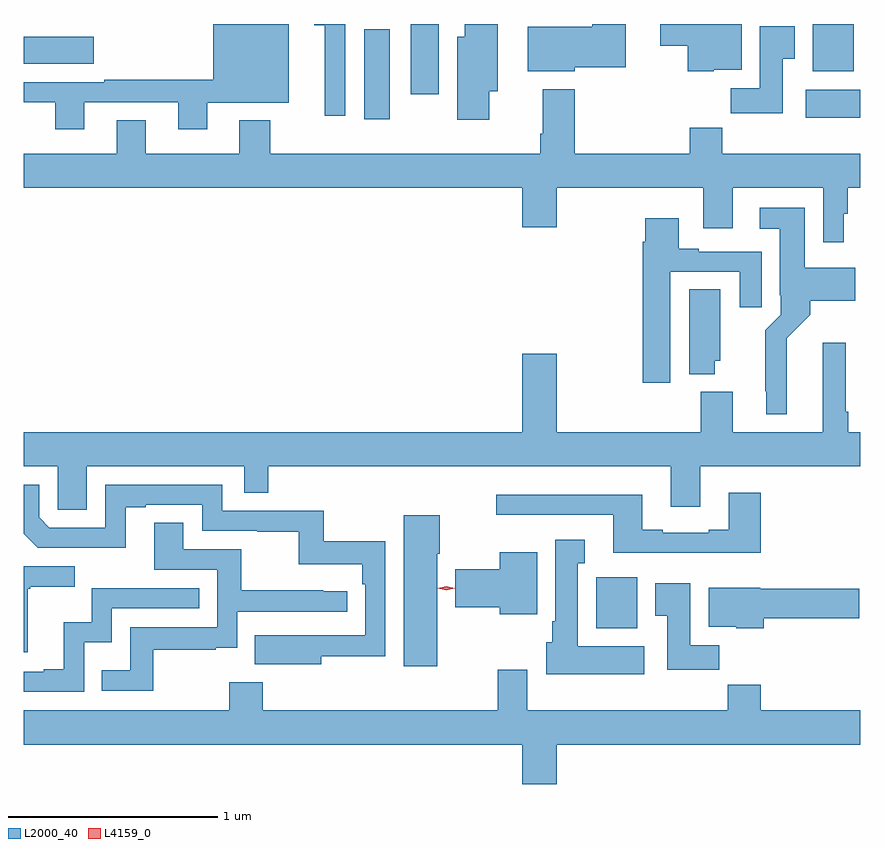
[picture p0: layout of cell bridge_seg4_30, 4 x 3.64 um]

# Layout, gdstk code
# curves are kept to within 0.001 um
import gdstk
lib = gdstk.Library(unit=1e-6, precision=1e-09)
def R(c, l, rs):  # rectangles x0, y0, x1, y1
    for r in rs: c.add(gdstk.rectangle(r[:2], r[2:], *l))
def P(c, l, *ps):  # polygons
    for p in ps: c.add(gdstk.Polygon(p, *l))
L2000_40 = (2000, 40)
L4159_0 = (4159, 0)

bridge_seg4_30 = lib.new_cell('bridge_seg4_30')
R(bridge_seg4_30, L2000_40, [(932.594,790.718,932.791,790.96), (931.484,793.152,931.606,793.582), (933.597,793.16,933.856,793.294), (931.706,793.272,931.84,793.608), (933.629,793.382,933.825,793.608), (929.856,793.418,930.19,793.546)])
P(bridge_seg4_30, L2000_40, [(932.49,793.4),(932.734,793.4),(932.734,793.608),(932.576,793.608),(932.576,793.594),(932.267,793.594),(932.267,793.382),(932.49,793.382)],
  [(931.392,793.608),(931.244,793.608),(931.244,793.601),(931.295,793.601),(931.295,793.17),(931.392,793.17)],
  [(932.083,793.286),(932.122,793.286),(932.122,793.608),(931.964,793.608),(931.964,793.546),(931.928,793.546),(931.928,793.149),(932.083,793.149)],
  [(930.145,793.233),(930.593,793.233),(930.593,793.104),(930.733,793.104),(930.733,793.232),(931.123,793.232),(931.123,793.608),(930.761,793.608),(930.761,793.342),(930.241,793.342),(930.241,793.329),(929.856,793.329),(929.856,793.233),(930.005,793.233),(930.005,793.104),(930.145,793.104)],
  [(933.156,793.388),(933.289,793.388),(933.289,793.608),(932.901,793.608),(932.901,793.504),(933.031,793.504),(933.031,793.382),(933.156,793.382)],
  [(933.487,793.441),(933.544,793.441),(933.544,793.597),(933.377,793.597),(933.377,793.3),(933.238,793.3),(933.238,793.182),(933.487,793.182)],
  [(933.778,792.7),(933.797,792.7),(933.797,792.824),(933.856,792.824),(933.856,792.988),(933.197,792.988),(933.197,793.112),(933.041,793.112),(933.041,792.988),(932.492,792.988),(932.492,793.297),(932.339,793.297),(932.339,793.084),(932.327,793.084),(932.327,792.988),(931.035,792.988),(931.035,793.147),(930.887,793.147),(930.887,792.988),(930.439,792.988),(930.439,793.148),(930.299,793.148),(930.299,792.988),(929.856,792.988),(929.856,792.824),(932.24,792.824),(932.24,792.636),(932.404,792.636),(932.404,792.824),(933.107,792.824),(933.107,792.63),(933.247,792.63),(933.247,792.824),(933.681,792.824),(933.681,792.564),(933.778,792.564)],
  [(933.505,792.104),(933.618,792.217),(933.618,792.284),(933.832,792.284),(933.832,792.442),(933.592,792.442),(933.592,792.73),(933.375,792.73),(933.375,792.629),(933.473,792.629),(933.473,792.31),(933.477,792.31),(933.477,792.216),(933.403,792.142),(933.403,791.851),(933.407,791.851),(933.407,791.741),(933.505,791.741)],
  [(932.947,792.423),(933.281,792.423),(933.281,792.252),(933.385,792.252),(933.385,792.519),(933.085,792.519),(933.085,792.532),(932.989,792.532),(932.989,792.679),(932.828,792.679),(932.828,792.566),(932.816,792.566),(932.816,791.892),(932.947,791.892)],
  [(933.16,791.997),(933.187,791.997),(933.187,792.338),(933.038,792.338),(933.038,791.933),(933.16,791.933)],
  [(930.157,791.492),(930.909,791.492),(930.909,791.365),(931.025,791.365),(931.025,791.492),(932.951,791.492),(932.951,791.298),(933.091,791.298),(933.091,791.492),(933.856,791.492),(933.856,791.656),(933.8,791.656),(933.8,791.752),(933.787,791.752),(933.787,792.082),(933.677,792.082),(933.677,791.656),(933.247,791.656),(933.247,791.848),(933.095,791.848),(933.095,791.656),(932.404,791.656),(932.404,792.031),(932.24,792.031),(932.24,791.656),(929.856,791.656),(929.856,791.492),(930.018,791.492),(930.018,791.284),(930.157,791.284)],
  [(931.279,790.582),(931.584,790.582),(931.584,791.134),(931.291,791.134),(931.291,791.28),(930.804,791.28),(930.804,791.403),(930.246,791.403),(930.246,791.199),(929.976,791.199),(929.928,791.247),(929.928,791.403),(929.856,791.403),(929.856,791.169),(929.922,791.103),(930.343,791.102),(930.343,791.295),(930.439,791.295),(930.439,791.307),(930.708,791.307),(930.708,791.184),(930.973,791.184),(930.973,791.179),(931.17,791.179),(931.17,791.024),(931.475,791.024),(931.475,790.928),(931.488,790.928),(931.488,790.683),(930.961,790.684),(930.961,790.544),(931.279,790.544)],
  [(933.38,791.365),(933.227,791.365),(933.227,791.188),(933.131,791.188),(933.131,791.175),(932.911,791.175),(932.911,791.188),(932.815,791.188),(932.815,791.356),(932.115,791.356),(932.115,791.259),(932.675,791.259),(932.675,791.078),(933.38,791.078)],
  [(931.834,791.073),(931.846,791.073),(931.846,791.257),(931.673,791.257),(931.673,790.536),(931.834,790.536)],
  [(930.475,790.614),(930.773,790.614),(930.773,790.625),(930.876,790.625),(930.876,790.797),(931.402,790.797),(931.402,790.893),(931.289,790.893),(931.289,790.898),(930.896,790.898),(930.896,791.094),(930.619,791.094),(930.619,791.222),(930.479,791.222),(930.479,790.998),(930.78,790.998),(930.78,790.722),(930.364,790.722),(930.364,790.516),(930.229,790.516),(930.229,790.419),(930.475,790.419)],
  [(932.824,790.63),(932.506,790.63),(932.506,791.027),(932.539,791.027),(932.539,791.14),(932.399,791.14),(932.399,790.75),(932.384,790.75),(932.384,790.65),(932.354,790.65),(932.354,790.496),(932.824,790.496)],
  [(932.311,791.08),(932.132,791.08),(932.132,791),(931.92,791),(931.92,790.817),(932.132,790.817),(932.132,790.784),(932.311,790.784)],
  [(929.875,790.905),(929.887,790.905),(929.887,790.916),(930.1,790.916),(930.1,791.013),(929.856,791.013),(929.856,790.602),(929.875,790.602)],
  [(933.182,790.636),(933.043,790.636),(933.043,790.933),(932.876,790.933),(932.876,790.777),(932.933,790.777),(932.933,790.518),(933.182,790.518)],
  [(933.395,790.765),(933.853,790.765),(933.853,790.907),(933.378,790.907),(933.378,790.912),(933.131,790.912),(933.131,790.724),(933.264,790.724),(933.264,790.718),(933.395,790.718)],
  [(930.144,790.649),(930.276,790.649),(930.276,790.812),(930.695,790.812),(930.695,790.908),(930.18,790.908),(930.18,790.747),(930.047,790.747),(930.047,790.522),(929.951,790.522),(929.951,790.509),(929.856,790.509),(929.856,790.413),(930.144,790.413)],
  [(932.404,790.16),(933.856,790.16),(933.856,790.324),(933.38,790.324),(933.38,790.448),(933.223,790.448),(933.223,790.324),(932.263,790.324),(932.263,790.519),(932.123,790.519),(932.123,790.324),(930.998,790.324),(930.998,790.459),(930.838,790.459),(930.838,790.324),(929.856,790.324),(929.856,790.16),(932.24,790.16),(932.24,789.972),(932.404,789.972)])
P(bridge_seg4_30, L4159_0, [(931.877,790.898),(931.836,790.908),(931.836,790.908),(931.836,790.909),(931.877,790.918),(931.918,790.908),(931.918,790.908),(931.918,790.908)])

lib.write_gds('bridge_seg4_30.gds')
